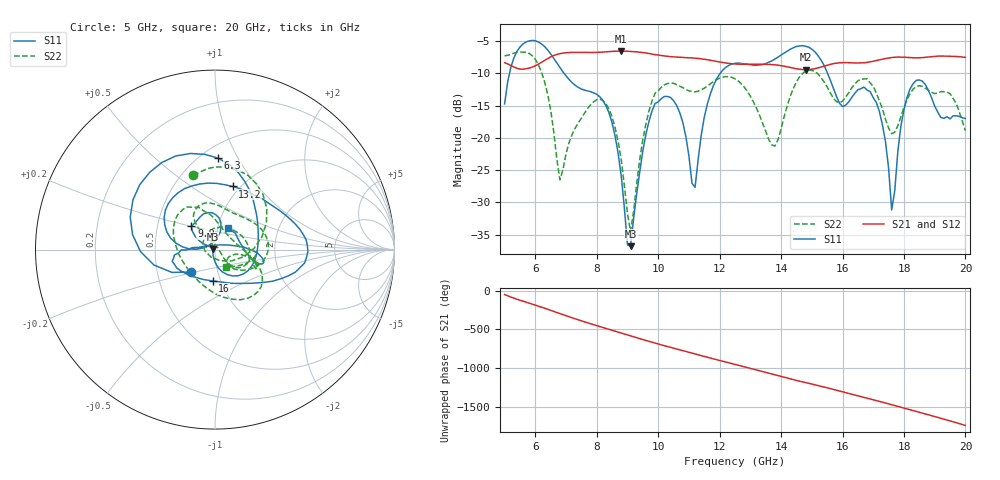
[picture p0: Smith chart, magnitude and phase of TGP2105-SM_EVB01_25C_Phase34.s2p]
! Date: Wednesday, June 05, 2013  1:51 PM
! Filename: C:\Data\Mike_Arnold\TGP2105-SM\Over_Temp\TGP2105-SM_EVB01_25C_Phase34.s2p
! Comments:
!^VDC(V):5.000
!^VDC(mA):0.025
!%Freq(GHz),S11(dB),S11(ang),S21(dB),S21(ang),S12(dB),S12(ang),S22(dB),S22(ang)
# GHz  S  DB  R  50
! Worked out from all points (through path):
!   151 points, 5 GHz to 20 GHz, reference 50 ohm
!   highest |S21| = -6.55 dB at 8.8 GHz (marker M1); lowest = -9.4 dB at 14.8 GHz (marker M2)
!   lowest |S11| = -36.8 dB at 9.1 GHz (marker M3), VSWR 1.03, Z = 48.6 + j0.403 ohm
!   |S11| at or under -10 dB: start of sweep to 5.16 GHz; 6.935 GHz to 12.02 GHz (5.085 GHz wide, 53.7 % of centre); 15.51 GHz to end of sweep
!   |S22| runs from -34.5 to -6.7 dB; largest |S21 - S12| = 0.0021
!   S11 on the Smith chart (normalised r, x): 5 GHz: 0.74, -0.19; 6.3 GHz: 0.60, +0.83; 9.9 GHz: 0.74, +0.20; 13.2 GHz: 0.92, +0.75; 16 GHz: 0.92, -0.33; 20 GHz: 1.11, +0.28
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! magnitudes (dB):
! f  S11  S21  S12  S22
! 5 GHz  -14.7  -8.3  -8.4  -7.3
! 6.3 GHz  -5.8  -8.0  -8.0  -11.3
! 6.8 GHz  -9.1  -6.9  -7.0  -26.5
! 7.5 GHz  -12.4  -6.7  -6.8  -17.0
! 8.2 GHz  -14.2  -6.7  -6.7  -14.2
! 8.8 GHz  -26.0  -6.6  -6.6  -23.5
! 9.1 GHz  -36.8  -6.6  -6.6  -34.5
! 9.9 GHz  -14.7  -7.1  -7.1  -13.1
! 10 GHz  -14.4  -7.2  -7.2  -12.7
! 11.2 GHz  -27.7  -7.7  -7.7  -12.9
! 11.7 GHz  -13.2  -8.0  -8.0  -11.6
! 12.5 GHz  -8.5  -8.6  -8.6  -10.9
! 13.2 GHz  -8.7  -8.6  -8.6  -15.4
! 13.8 GHz  -7.8  -8.7  -8.7  -21.3
! 14.8 GHz  -5.8  -9.4  -9.4  -9.6
! 15 GHz  -6.3  -9.4  -9.4  -9.5
! 16 GHz  -15.1  -8.3  -8.4  -14.3
! 16.9 GHz  -12.8  -8.2  -8.3  -11.5
! 17.5 GHz  -24.7  -7.6  -7.6  -18.5
! 17.6 GHz  -31.2  -7.5  -7.6  -19.4
! 18.4 GHz  -11.1  -7.6  -7.6  -12.0
! 20 GHz  -17.0  -7.5  -7.6  -18.9
